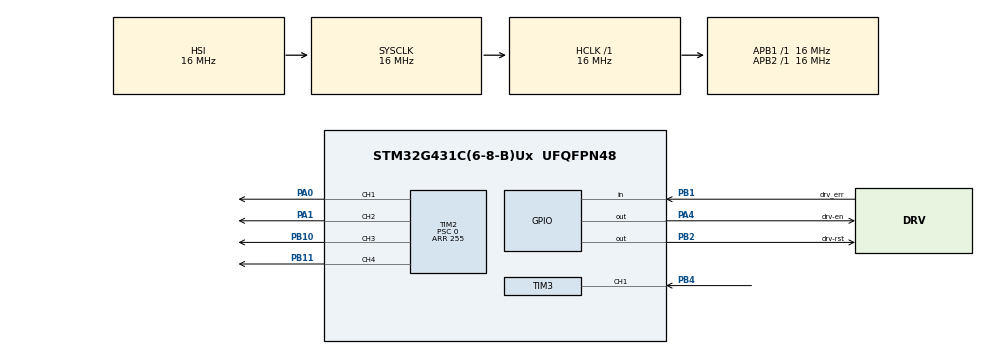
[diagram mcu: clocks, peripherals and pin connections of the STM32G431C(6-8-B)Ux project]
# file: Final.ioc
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Mcu.Family=STM32G4
Mcu.Name=STM32G431C(6-8-B)Ux
Mcu.Package=UFQFPN48
NVIC.PriorityGroup=NVIC_PRIORITYGROUP_4
PA0.Signal=S_TIM2_CH1
PA1.Signal=S_TIM2_CH2
PA13.Mode=Serial_Wire
PA13.Signal=SYS_JTMS-SWDIO
PA14.Mode=Serial_Wire
PA14.Signal=SYS_JTCK-SWCLK
PA4.GPIO_Label=drv-en
PA4.PinState=GPIO_PIN_SET
PA4.Signal=GPIO_Output
PB1.GPIO_Label=drv_err
PB1.GPIO_PuPd=GPIO_PULLUP
PB1.Signal=GPIO_Input
PB10.Signal=S_TIM2_CH3
PB11.Signal=S_TIM2_CH4
PB2.GPIO_Label=drv-rst
PB2.GPIO_PuPd=GPIO_PULLUP
PB2.PinState=GPIO_PIN_SET
PB2.Signal=GPIO_Output
PB4.Signal=S_TIM3_CH1
PF0-OSC_IN.Mode=HSE-External-Oscillator
PF0-OSC_IN.Signal=RCC_OSC_IN
PF1-OSC_OUT.Mode=HSE-External-Oscillator
PF1-OSC_OUT.Signal=RCC_OSC_OUT
ProjectManager.HeapSize=0x200
ProjectManager.StackSize=0x400
ProjectManager.TargetToolchain=STM32CubeIDE
RCC.ADC12Freq_Value=16000000
RCC.AHBFreq_Value=16000000
RCC.APB1Freq_Value=16000000
RCC.APB1TimFreq_Value=16000000
RCC.APB2Freq_Value=16000000
RCC.APB2TimFreq_Value=16000000
RCC.CortexFreq_Value=16000000
RCC.EXTERNAL_CLOCK_VALUE=12288000
RCC.HCLKFreq_Value=16000000
RCC.HSE_VALUE=12000000
RCC.HSI48_VALUE=48000000
RCC.HSI_VALUE=16000000
RCC.LSE_VALUE=32768
RCC.SYSCLKFreq_VALUE=16000000
RCC.USBFreq_Value=64000000
RCC.VCOOutputFreq_Value=128000000
SH.S_TIM2_CH1.0=TIM2_CH1,PWM Generation1 CH1
SH.S_TIM2_CH2.0=TIM2_CH2,PWM Generation2 CH2
SH.S_TIM2_CH3.0=TIM2_CH3,PWM Generation3 CH3
SH.S_TIM2_CH4.0=TIM2_CH4,PWM Generation4 CH4
SH.S_TIM3_CH1.0=TIM3_CH1,Input_Capture1_from_TI1
TIM2.AutoReloadPreload=TIM_AUTORELOAD_PRELOAD_DISABLE
TIM2.Channel-PWM\ Generation1\ CH1=TIM_CHANNEL_1
TIM2.Channel-PWM\ Generation2\ CH2=TIM_CHANNEL_2
TIM2.Channel-PWM\ Generation3\ CH3=TIM_CHANNEL_3
TIM2.Channel-PWM\ Generation4\ CH4=TIM_CHANNEL_4
TIM2.CounterMode=TIM_COUNTERMODE_CENTERALIGNED1
TIM2.PeriodNoDither=255
TIM2.Prescaler=0
TIM2.PulseNoDither_1=0
TIM3.Channel-Input_Capture1_from_TI1=TIM_CHANNEL_1
VP_SYS_VS_DBSignals.Mode=DisableDeadBatterySignals
VP_TIM2_VS_ClockSourceINT.Mode=Internal
board=custom

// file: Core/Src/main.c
/* USER CODE BEGIN Header */
/**
  ******************************************************************************
  * @file           : main.c
  * @brief          : Main program body
  ******************************************************************************
  * @attention
  *
  * Copyright (c) 2024 STMicroelectronics.
  * All rights reserved.
  *
  * This software is licensed under terms that can be found in the LICENSE file
  * in the root directory of this software component.
  * If no LICENSE file comes with this software, it is provided AS-IS.
  *
  ******************************************************************************
  */
/* USER CODE END Header */
#include "main.h"
#include "tim.h"
#include "gpio.h"

/* USER CODE BEGIN Includes */
#include <stdlib.h>
#include <math.h>

/* USER CODE END Includes */

void SystemClock_Config(void);

/* USER CODE BEGIN 0 */
#define Drive_Voltage 10;
#define Motor_Voltage 2;
/* USER CODE END 0 */

int main(void)
{

  /* USER CODE BEGIN 1 */
	  int pulse=0;

	  uint32_t PhaseA;
	  uint32_t PhaseB;
	  uint32_t PhaseA2;
	  uint32_t PhaseB2;
	  int32_t AA;
	  int32_t BB;
	  int32_t PWMValues[2][360];
	  float uzuf = 0.25;

	  void SetPWM(int32_t A, int32_t B){
		  if(A>0){PhaseA=A;PhaseA2=0;}
		  else{PhaseA=0;PhaseA2=abs(A);}
		  if(B>0){PhaseB=B;PhaseB2=0;}
		  else{PhaseB=0;PhaseB2=abs(B);}
		  __HAL_TIM_SET_COMPARE(&htim2,TIM_CHANNEL_1,PhaseA);
		  __HAL_TIM_SET_COMPARE(&htim2,TIM_CHANNEL_2,PhaseA2);
		  __HAL_TIM_SET_COMPARE(&htim2,TIM_CHANNEL_3,PhaseB);
		  __HAL_TIM_SET_COMPARE(&htim2,TIM_CHANNEL_4,PhaseB2);
	  }
	  void CalcPWM(void){
		  for (int i = 0; i <= 360; i++) {
			  AA=sin(i*(M_PI / 180.0))*pow(2, 7)*uzuf;
			  BB=cos(i*(M_PI / 180.0))*pow(2, 7)*uzuf;
			  PWMValues[0][i]=AA;
			  PWMValues[1][i]=BB;
		  }
	  }
  /* USER CODE END 1 */

  /* MCU Configuration--------------------------------------------------------*/

  /* Reset of all peripherals, Initializes the Flash interface and the Systick. */
  HAL_Init();

  /* Configure the system clock */
  SystemClock_Config();

  /* Initialize all configured peripherals */
  MX_GPIO_Init();
  MX_TIM2_Init();
  MX_TIM3_Init();
  /* USER CODE BEGIN 2 */
  HAL_TIM_PWM_Start(&htim2, TIM_CHANNEL_1);
  HAL_TIM_PWM_Start(&htim2, TIM_CHANNEL_2);
  HAL_TIM_PWM_Start(&htim2, TIM_CHANNEL_3);
  HAL_TIM_PWM_Start(&htim2, TIM_CHANNEL_4);
  CalcPWM();

  /* USER CODE END 2 */

  /* Infinite loop */
  while (1)
  {

    /* USER CODE BEGIN 3 */
	  pulse++;
	  if(pulse>359){pulse=1;}
	  SetPWM(PWMValues[0][pulse],PWMValues[1][pulse]);
	  HAL_Delay(1);
  }
  /* USER CODE END 3 */
}

void SystemClock_Config(void)
{
  RCC_OscInitTypeDef RCC_OscInitStruct = {0};
  RCC_ClkInitTypeDef RCC_ClkInitStruct = {0};

  /** Configure the main internal regulator output voltage
  */
  HAL_PWREx_ControlVoltageScaling(PWR_REGULATOR_VOLTAGE_SCALE1);

  /** Initializes the RCC Oscillators according to the specified parameters
  * in the RCC_OscInitTypeDef structure.
  */
  RCC_OscInitStruct.OscillatorType = RCC_OSCILLATORTYPE_HSI;
  RCC_OscInitStruct.HSIState = RCC_HSI_ON;
  RCC_OscInitStruct.HSICalibrationValue = RCC_HSICALIBRATION_DEFAULT;
  RCC_OscInitStruct.PLL.PLLState = RCC_PLL_NONE;
  if (HAL_RCC_OscConfig(&RCC_OscInitStruct) != HAL_OK)
  {
    Error_Handler();
  }

  /** Initializes the CPU, AHB and APB buses clocks
  */
  RCC_ClkInitStruct.ClockType = RCC_CLOCKTYPE_HCLK|RCC_CLOCKTYPE_SYSCLK
                              |RCC_CLOCKTYPE_PCLK1|RCC_CLOCKTYPE_PCLK2;
  RCC_ClkInitStruct.SYSCLKSource = RCC_SYSCLKSOURCE_HSI;
  RCC_ClkInitStruct.AHBCLKDivider = RCC_SYSCLK_DIV1;
  RCC_ClkInitStruct.APB1CLKDivider = RCC_HCLK_DIV1;
  RCC_ClkInitStruct.APB2CLKDivider = RCC_HCLK_DIV1;

  if (HAL_RCC_ClockConfig(&RCC_ClkInitStruct, FLASH_LATENCY_0) != HAL_OK)
  {
    Error_Handler();
  }
}

void Error_Handler(void)
{
  __disable_irq();
  while (1)
  {
  }
}
